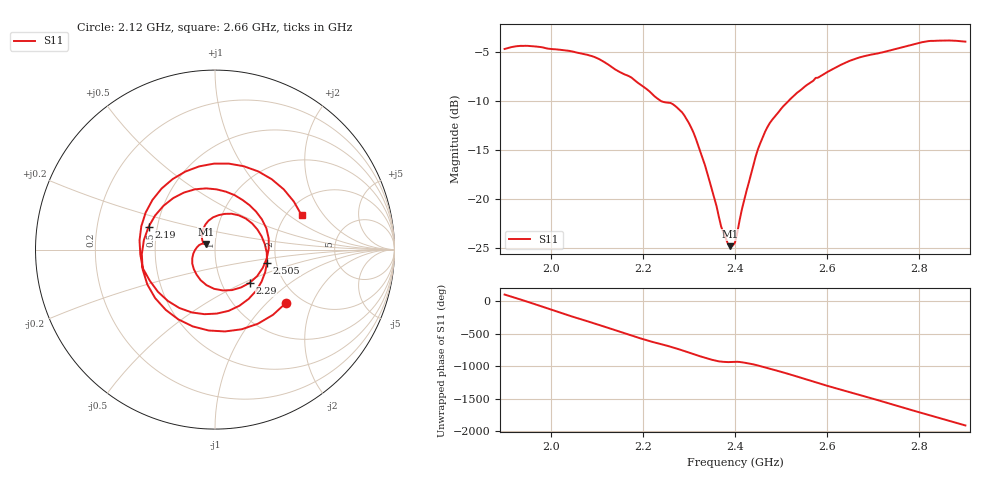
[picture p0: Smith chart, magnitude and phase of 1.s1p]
!CEYEAR,3656B,QZNG000063,1.3.8
!Calibration ON (Full Solt 2-Port(Omit Isolation))
!Measurements:S11
!2025-12-27 11:23
# Hz  S  dB  R 50.000
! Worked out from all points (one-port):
!   201 points, 1.9 GHz to 2.9 GHz, reference 50 ohm
!   lowest |S11| = -24.8 dB at 2.39 GHz (marker M1), VSWR 1.12, Z = 45.3 + j2.88 ohm
!   |S11| at or under -10 dB: 2.24 GHz to 2.516 GHz (275.7 MHz wide, 11.6 % of centre)
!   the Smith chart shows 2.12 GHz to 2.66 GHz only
!   S11 on the Smith chart (normalised r, x): 2.12 GHz: 1.67, -1.31; 2.19 GHz: 0.45, +0.13; 2.29 GHz: 1.35, -0.54; 2.505 GHz: 1.79, -0.28; 2.66 GHz: 2.41, +1.25
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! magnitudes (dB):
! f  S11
! 1.9 GHz  -4.7
! 1.945 GHz  -4.3
! 2.025 GHz  -4.8
! 2.09 GHz  -5.4
! 2.12 GHz  -6.1
! 2.15 GHz  -7.0
! 2.19 GHz  -8.1
! 2.24 GHz  -10.0
! 2.275 GHz  -10.7
! 2.29 GHz  -11.4
! 2.315 GHz  -13.8
! 2.34 GHz  -17.4
! 2.36 GHz  -20.7
! 2.37 GHz  -22.8
! 2.385 GHz  -24.6
! 2.39 GHz  -24.8
! 2.4 GHz  -24.4
! 2.42 GHz  -20.1
! 2.45 GHz  -14.9
! 2.475 GHz  -12.3
! 2.505 GHz  -10.5
! 2.525 GHz  -9.6
! 2.575 GHz  -7.6
! 2.65 GHz  -5.9
! 2.66 GHz  -5.7
! 2.775 GHz  -4.3
! 2.825 GHz  -3.8
! 2.9 GHz  -3.9
